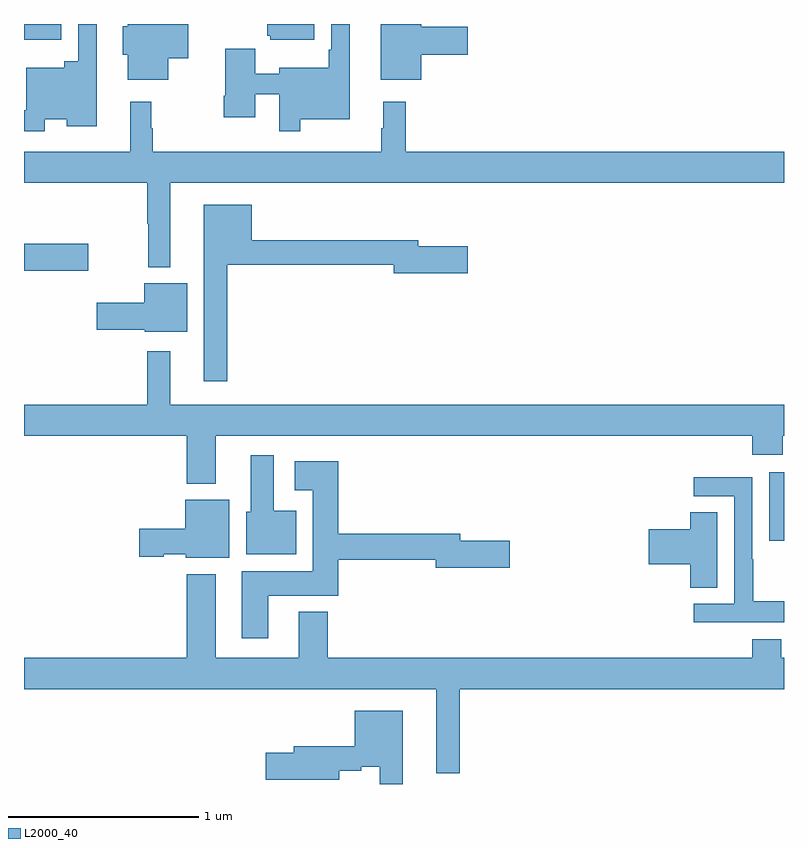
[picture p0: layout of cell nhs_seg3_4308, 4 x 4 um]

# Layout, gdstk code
import gdstk
lib = gdstk.Library(unit=1e-6, precision=1e-09)
def R(c, l, rs):  # rectangles x0, y0, x1, y1
    for r in rs: c.add(gdstk.rectangle(r[:2], r[2:], *l))
def P(c, l, *ps):  # polygons
    for p in ps: c.add(gdstk.Polygon(p, *l))
L2000_40 = (2000, 40)

nhs_seg3_4308 = lib.new_cell('nhs_seg3_4308')
R(nhs_seg3_4308, L2000_40, [(342.923,717.681,343,718.042), (339,719.102,339.337,719.244), (339,720.317,339.196,720.4)])
P(nhs_seg3_4308, L2000_40, [(341.092,720.239),(341.335,720.239),(341.335,720.386),(341.092,720.386),(341.092,720.4),(340.877,720.4),(340.877,720.107),(341.092,720.107)],
  [(340.528,720.4),(340.28,720.4),(340.28,720.339),(340.296,720.339),(340.296,720.317),(340.528,720.317)],
  [(339.108,719.9),(339.224,719.9),(339.224,719.861),(339.382,719.861),(339.382,720.4),(339.285,720.4),(339.285,720.205),(339.212,720.205),(339.212,720.169),(339.012,720.169),(339.012,719.947),(339,719.947),(339,719.835),(339.108,719.835)],
  [(340.453,719.9),(340.714,719.9),(340.714,720.4),(340.617,720.4),(340.617,720.265),(340.605,720.265),(340.605,720.169),(340.343,720.169),(340.343,720.139),(340.216,720.139),(340.216,720.271),(340.058,720.271),(340.058,720.022),(340.051,720.022),(340.051,719.91),(340.216,719.91),(340.216,720.03),(340.344,720.03),(340.344,719.835),(340.453,719.835)],
  [(339.76,720.221),(339.865,720.221),(339.865,720.4),(339.545,720.4),(339.545,720.387),(339.521,720.387),(339.521,720.237),(339.545,720.237),(339.545,720.107),(339.76,720.107)],
  [(339.769,719.564),(343,719.564),(343,719.728),(341.009,719.728),(341.009,719.992),(340.892,719.992),(340.892,719.852),(340.881,719.852),(340.881,719.728),(339.677,719.728),(339.677,719.852),(339.67,719.852),(339.67,719.992),(339.56,719.992),(339.56,719.728),(339,719.728),(339,719.564),(339.648,719.564),(339.648,719.348),(339.655,719.348),(339.655,719.12),(339.769,719.12)],
  [(340.069,719.134),(340.946,719.134),(340.946,719.087),(341.335,719.087),(341.335,719.229),(341.074,719.229),(341.074,719.263),(340.198,719.263),(340.198,719.449),(339.947,719.449),(339.947,718.521),(340.069,718.521)],
  [(339.859,719.035),(339.632,719.035),(339.632,718.934),(339.384,718.934),(339.384,718.792),(339.636,718.792),(339.636,718.781),(339.859,718.781)],
  [(340.009,718.232),(342.833,718.232),(342.833,718.133),(342.993,718.133),(342.993,718.232),(343,718.232),(343,718.396),(339.769,718.396),(339.769,718.678),(339.648,718.678),(339.648,718.396),(339,718.396),(339,718.232),(339.857,718.232),(339.857,717.98),(340.009,717.98)],
  [(340.432,717.838),(340.315,717.838),(340.315,718.129),(340.193,718.129),(340.193,717.834),(340.169,717.834),(340.169,717.608),(340.432,717.608)],
  [(340.285,717.392),(340.655,717.392),(340.655,717.58),(341.168,717.58),(341.168,717.538),(341.557,717.538),(341.557,717.68),(341.296,717.68),(341.296,717.716),(340.655,717.716),(340.655,718.099),(340.425,718.099),(340.425,717.947),(340.52,717.947),(340.52,717.52),(340.145,717.52),(340.145,717.168),(340.285,717.168)],
  [(343,717.361),(342.837,717.361),(342.837,717.584),(342.834,717.584),(342.834,718.014),(342.525,718.014),(342.525,717.915),(342.738,717.915),(342.738,717.348),(342.525,717.348),(342.525,717.252),(343,717.252)],
  [(340.081,717.895),(339.848,717.895),(339.848,717.743),(339.606,717.743),(339.606,717.596),(339.735,717.596),(339.735,717.608),(339.852,717.608),(339.852,717.59),(340.081,717.59)],
  [(342.649,717.83),(342.506,717.83),(342.506,717.74),(342.288,717.74),(342.288,717.557),(342.506,717.557),(342.506,717.433),(342.649,717.433)],
  [(341.293,716.9),(343,716.9),(343,717.064),(342.985,717.064),(342.985,717.163),(342.833,717.163),(342.833,717.064),(340.598,717.064),(340.598,717.307),(340.445,717.307),(340.445,717.064),(340.009,717.064),(340.009,717.505),(339.857,717.505),(339.857,717.064),(339,717.064),(339,716.9),(341.171,716.9),(341.171,716.456),(341.293,716.456)],
  [(340.993,716.785),(340.742,716.785),(340.742,716.599),(340.421,716.599),(340.421,716.565),(340.272,716.565),(340.272,716.423),(340.66,716.423),(340.66,716.47),(340.775,716.47),(340.775,716.49),(340.872,716.49),(340.872,716.4),(340.993,716.4)])

lib.write_gds('nhs_seg3_4308.gds')
